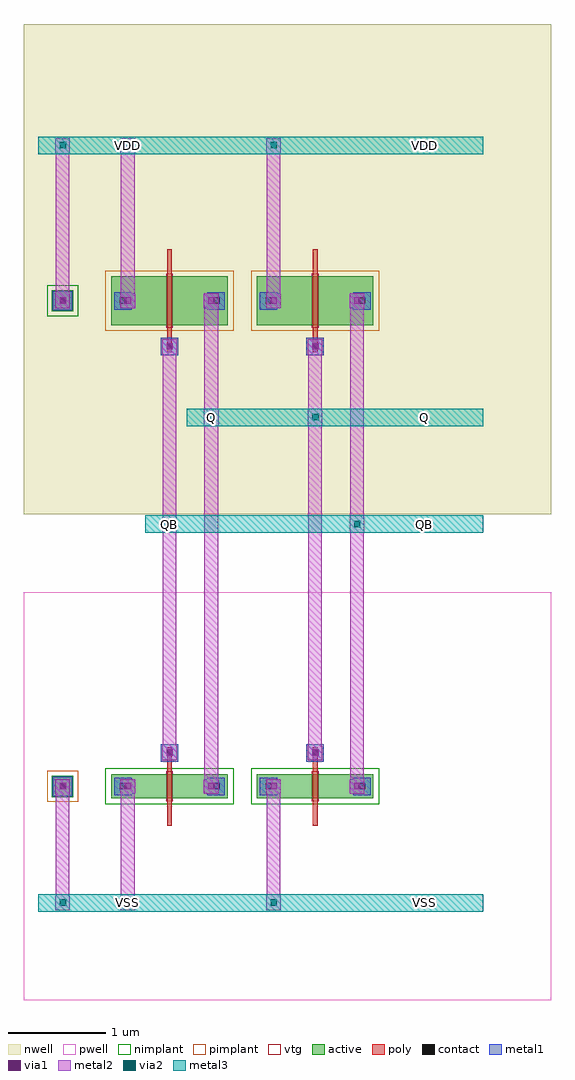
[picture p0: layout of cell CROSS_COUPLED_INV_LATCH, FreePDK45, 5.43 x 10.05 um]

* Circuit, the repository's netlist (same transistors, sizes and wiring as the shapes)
.subckt CROSS_COUPLED_INV_LATCH VDD VSS Q QB
M0 Q QB VDD VDD PMOS_VTG W=0.5U L=0.05U
M1 Q QB VSS VSS NMOS_VTG W=0.25U L=0.05U
M2 QB Q VDD VDD PMOS_VTG W=0.5U L=0.05U
M3 QB Q VSS VSS NMOS_VTG W=0.25U L=0.05U
.ends CROSS_COUPLED_INV_LATCH
.end

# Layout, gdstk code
import gdstk
lib = gdstk.Library(unit=1e-6, precision=5e-10)
def R(c, l, rs):  # rectangles x0, y0, x1, y1
    for r in rs: c.add(gdstk.rectangle(r[:2], r[2:], *l))
active = (1, 0)
pwell = (2, 0)
nwell = (3, 0)
nimplant = (4, 0)
pimplant = (5, 0)
vtg = (6, 0)
poly = (9, 0)
contact = (10, 0)
metal1 = (11, 0)
via1 = (12, 0)
metal2 = (13, 0)
via2 = (14, 0)
metal3 = (15, 0)

cross_coupled_inv_latch = lib.new_cell('CROSS_COUPLED_INV_LATCH')
R(cross_coupled_inv_latch, active, [(0.6,1.875,1.8,2.125), (2.1,1.875,3.3,2.125), (-0.01,1.89,0.21,2.11), (0.6,6.75,1.8,7.25), (2.1,6.75,3.3,7.25), (-0.01,6.89,0.21,7.11)])
R(cross_coupled_inv_latch, pwell, [(-0.3,-0.2,5.13,4)])
R(cross_coupled_inv_latch, nwell, [(-0.3,4.8,5.13,9.85)])
R(cross_coupled_inv_latch, nimplant, [(0.54,1.815,1.86,2.185), (2.04,1.815,3.36,2.185), (-0.06,6.84,0.26,7.16)])
R(cross_coupled_inv_latch, pimplant, [(-0.06,1.84,0.26,2.16), (0.54,6.69,1.86,7.31), (2.04,6.69,3.36,7.31)])
R(cross_coupled_inv_latch, vtg, [(1.165,1.845,1.235,2.155), (2.665,1.845,2.735,2.155), (1.165,6.72,1.235,7.28), (2.665,6.72,2.735,7.28)])
R(cross_coupled_inv_latch, poly, [(1.175,1.595,1.225,2.405), (2.675,1.595,2.725,2.405), (1.175,6.47,1.225,7.53), (2.675,6.47,2.725,7.53)])
R(cross_coupled_inv_latch, contact, [(0.07,1.97,0.135,2.035), (0.69,1.97,0.755,2.035), (1.65,1.97,1.715,2.035), (2.19,1.97,2.255,2.035), (3.15,1.97,3.215,2.035), (1.17,2.315,1.235,2.38), (2.67,2.315,2.735,2.38), (1.17,6.5,1.235,6.565), (2.67,6.5,2.735,6.565), (0.07,6.97,0.135,7.035), (0.69,6.97,0.755,7.035), (1.65,6.97,1.715,7.035), (2.19,6.97,2.255,7.035), (3.15,6.97,3.215,7.035)])
R(cross_coupled_inv_latch, metal1, [(0,1.9,0.2,2.1), (0.63,1.91,0.81,2.09), (1.59,1.91,1.77,2.09), (2.13,1.91,2.31,2.09), (3.09,1.91,3.27,2.09), (0.025,1.925,0.175,2.075), (0.025,1.925,0.175,2.075), (0.025,1.925,0.175,2.075), (0.695,1.925,0.845,2.075), (1.555,1.925,1.705,2.075), (2.195,1.925,2.345,2.075), (3.055,1.925,3.205,2.075), (1.11,2.255,1.29,2.435), (2.61,2.255,2.79,2.435), (1.125,2.27,1.275,2.42), (2.625,2.27,2.775,2.42), (1.11,6.44,1.29,6.62), (2.61,6.44,2.79,6.62), (1.125,6.455,1.275,6.605), (2.625,6.455,2.775,6.605), (0,6.9,0.2,7.1), (0.63,6.91,0.81,7.09), (1.59,6.91,1.77,7.09), (2.13,6.91,2.31,7.09), (3.09,6.91,3.27,7.09), (0.025,6.925,0.175,7.075), (0.025,6.925,0.175,7.075), (0.025,6.925,0.175,7.075), (0.695,6.925,0.845,7.075), (1.555,6.925,1.705,7.075), (2.195,6.925,2.345,7.075), (3.055,6.925,3.205,7.075)])
R(cross_coupled_inv_latch, via1, [(0.07,1.97,0.135,2.035), (0.07,1.97,0.135,2.035), (0.07,1.97,0.135,2.035), (0.74,1.97,0.805,2.035), (1.6,1.97,1.665,2.035), (2.24,1.97,2.305,2.035), (3.1,1.97,3.165,2.035), (1.17,2.315,1.235,2.38), (2.67,2.315,2.735,2.38), (1.17,6.5,1.235,6.565), (2.67,6.5,2.735,6.565), (0.07,6.97,0.135,7.035), (0.07,6.97,0.135,7.035), (0.07,6.97,0.135,7.035), (0.74,6.97,0.805,7.035), (1.6,6.97,1.665,7.035), (2.24,6.97,2.305,7.035), (3.1,6.97,3.165,7.035)])
R(cross_coupled_inv_latch, metal2, [(0.025,0.725,0.175,0.875), (0.025,0.725,0.175,0.875), (0.025,0.725,0.175,0.875), (0.695,0.725,0.845,0.875), (2.195,0.725,2.345,0.875), (0.03,0.8,0.17,2), (0.03,0.8,0.17,2), (0.03,0.8,0.17,2), (0.7,0.8,0.84,2), (2.2,0.8,2.34,2), (0.025,1.925,0.175,2.075), (0.025,1.925,0.175,2.075), (0.025,1.925,0.175,2.075), (0.695,1.925,0.845,2.075), (1.555,1.925,1.705,2.075), (2.195,1.925,2.345,2.075), (3.055,1.925,3.205,2.075), (1.56,2,1.7,5.8), (3.06,2,3.2,4.7), (1.125,2.27,1.275,2.42), (2.625,2.27,2.775,2.42), (1.13,2.345,1.27,4.7), (2.63,2.345,2.77,5.8), (1.125,4.625,1.275,4.775), (1.125,4.625,1.275,4.775), (3.055,4.625,3.205,4.775), (3.055,4.625,3.205,4.775), (1.13,4.7,1.27,6.53), (3.06,4.7,3.2,7), (1.555,5.725,1.705,5.875), (1.555,5.725,1.705,5.875), (2.625,5.725,2.775,5.875), (2.625,5.725,2.775,5.875), (1.56,5.8,1.7,7), (2.63,5.8,2.77,6.53), (1.125,6.455,1.275,6.605), (2.625,6.455,2.775,6.605), (0.025,6.925,0.175,7.075), (0.025,6.925,0.175,7.075), (0.025,6.925,0.175,7.075), (0.695,6.925,0.845,7.075), (1.555,6.925,1.705,7.075), (2.195,6.925,2.345,7.075), (3.055,6.925,3.205,7.075), (0.03,7,0.17,8.6), (0.03,7,0.17,8.6), (0.03,7,0.17,8.6), (0.7,7,0.84,8.6), (2.2,7,2.34,8.6), (0.025,8.525,0.175,8.675), (0.025,8.525,0.175,8.675), (0.025,8.525,0.175,8.675), (0.695,8.525,0.845,8.675), (2.195,8.525,2.345,8.675)])
R(cross_coupled_inv_latch, via2, [(0.07,0.77,0.135,0.835), (0.07,0.77,0.135,0.835), (0.07,0.77,0.135,0.835), (0.74,0.77,0.805,0.835), (2.24,0.77,2.305,0.835), (1.17,4.67,1.235,4.735), (1.17,4.67,1.235,4.735), (3.1,4.67,3.165,4.735), (3.1,4.67,3.165,4.735), (1.6,5.77,1.665,5.835), (1.6,5.77,1.665,5.835), (2.67,5.77,2.735,5.835), (2.67,5.77,2.735,5.835), (0.07,8.57,0.135,8.635), (0.07,8.57,0.135,8.635), (0.07,8.57,0.135,8.635), (0.74,8.57,0.805,8.635), (2.24,8.57,2.305,8.635)])
R(cross_coupled_inv_latch, metal3, [(-0.15,0.71,2.52,0.89), (2.52,0.71,4.43,0.89), (0.025,0.725,0.175,0.875), (0.025,0.725,0.175,0.875), (0.025,0.725,0.175,0.875), (0.695,0.725,0.845,0.875), (2.195,0.725,2.345,0.875), (0.95,4.61,3.38,4.79), (3.38,4.61,4.43,4.79), (1.125,4.625,1.275,4.775), (1.125,4.625,1.275,4.775), (3.055,4.625,3.205,4.775), (3.055,4.625,3.205,4.775), (1.38,5.71,2.95,5.89), (2.95,5.71,4.43,5.89), (1.555,5.725,1.705,5.875), (1.555,5.725,1.705,5.875), (2.625,5.725,2.775,5.875), (2.625,5.725,2.775,5.875), (-0.15,8.51,2.52,8.69), (2.52,8.51,4.43,8.69), (0.025,8.525,0.175,8.675), (0.025,8.525,0.175,8.675), (0.025,8.525,0.175,8.675), (0.695,8.525,0.845,8.675), (2.195,8.525,2.345,8.675)])
cross_coupled_inv_latch.add(gdstk.Label('VDD', (3.83,8.6), layer=15, texttype=0))
cross_coupled_inv_latch.add(gdstk.Label('VDD', (3.83,8.6), layer=15, texttype=1))
cross_coupled_inv_latch.add(gdstk.Label('VDD', (3.83,8.6), layer=15, texttype=2))
cross_coupled_inv_latch.add(gdstk.Label('VDD', (0.77,8.6), layer=13, texttype=0))
cross_coupled_inv_latch.add(gdstk.Label('VDD', (0.77,8.6), layer=13, texttype=1))
cross_coupled_inv_latch.add(gdstk.Label('VDD', (0.77,8.6), layer=13, texttype=2))
cross_coupled_inv_latch.add(gdstk.Label('VSS', (3.83,0.8), layer=15, texttype=0))
cross_coupled_inv_latch.add(gdstk.Label('VSS', (3.83,0.8), layer=15, texttype=1))
cross_coupled_inv_latch.add(gdstk.Label('VSS', (3.83,0.8), layer=15, texttype=2))
cross_coupled_inv_latch.add(gdstk.Label('VSS', (0.77,0.8), layer=13, texttype=0))
cross_coupled_inv_latch.add(gdstk.Label('VSS', (0.77,0.8), layer=13, texttype=1))
cross_coupled_inv_latch.add(gdstk.Label('VSS', (0.77,0.8), layer=13, texttype=2))
cross_coupled_inv_latch.add(gdstk.Label('Q', (3.83,5.8), layer=15, texttype=0))
cross_coupled_inv_latch.add(gdstk.Label('Q', (3.83,5.8), layer=15, texttype=1))
cross_coupled_inv_latch.add(gdstk.Label('Q', (3.83,5.8), layer=15, texttype=2))
cross_coupled_inv_latch.add(gdstk.Label('Q', (1.63,5.8), layer=13, texttype=0))
cross_coupled_inv_latch.add(gdstk.Label('Q', (1.63,5.8), layer=13, texttype=1))
cross_coupled_inv_latch.add(gdstk.Label('Q', (1.63,5.8), layer=13, texttype=2))
cross_coupled_inv_latch.add(gdstk.Label('QB', (3.83,4.7), layer=15, texttype=0))
cross_coupled_inv_latch.add(gdstk.Label('QB', (3.83,4.7), layer=15, texttype=1))
cross_coupled_inv_latch.add(gdstk.Label('QB', (3.83,4.7), layer=15, texttype=2))
cross_coupled_inv_latch.add(gdstk.Label('QB', (1.2,4.7), layer=13, texttype=0))
cross_coupled_inv_latch.add(gdstk.Label('QB', (1.2,4.7), layer=13, texttype=1))
cross_coupled_inv_latch.add(gdstk.Label('QB', (1.2,4.7), layer=13, texttype=2))

lib.write_gds('CROSS_COUPLED_INV_LATCH.gds')
